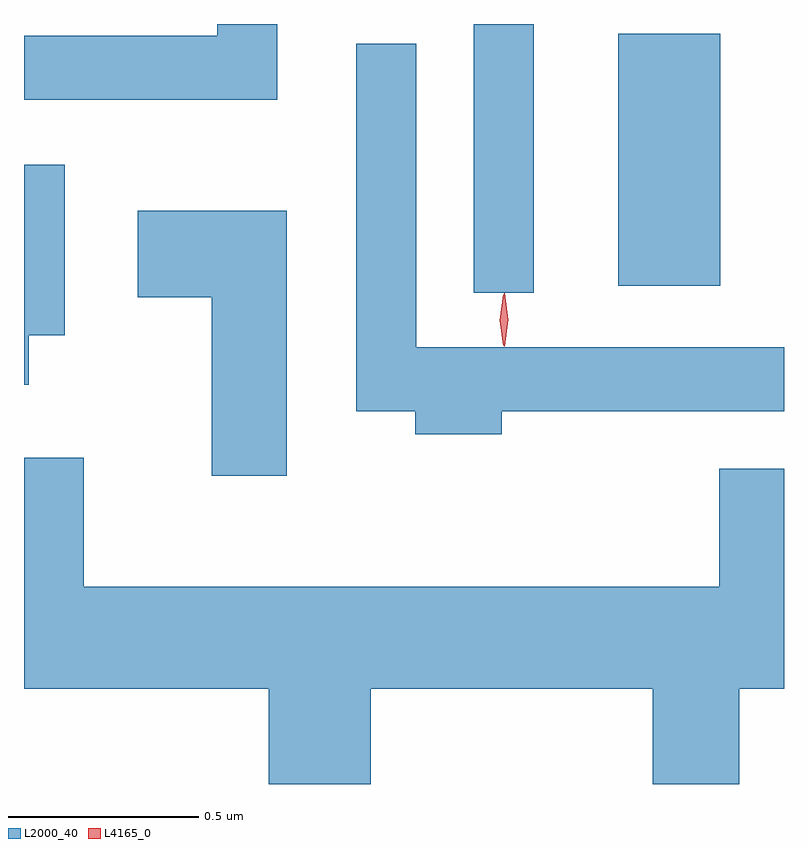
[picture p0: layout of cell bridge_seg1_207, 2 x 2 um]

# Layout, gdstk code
import gdstk
lib = gdstk.Library(unit=1e-6, precision=1e-09)
def R(c, l, rs):  # rectangles x0, y0, x1, y1
    for r in rs: c.add(gdstk.rectangle(r[:2], r[2:], *l))
def P(c, l, *ps):  # polygons
    for p in ps: c.add(gdstk.Polygon(p, *l))
L2000_40 = (2000, 40)
L4165_0 = (4165, 0)

bridge_seg1_207 = lib.new_cell('bridge_seg1_207')
R(bridge_seg1_207, L2000_40, [(795.036,931.698,795.194,932.405), (795.416,931.716,795.684,932.379)])
P(bridge_seg1_207, L2000_40, [(794.519,932.405),(794.361,932.405),(794.361,932.374),(793.852,932.374),(793.852,932.206),(794.519,932.206)],
  [(795.109,931.386),(795.852,931.386),(795.852,931.554),(794.884,931.554),(794.884,932.353),(794.726,932.353),(794.726,931.386),(794.881,931.386),(794.881,931.326),(795.109,931.326)],
  [(793.864,931.586),(793.959,931.586),(793.959,932.034),(793.852,932.034),(793.852,931.456),(793.864,931.456)],
  [(794.544,931.914),(794.151,931.914),(794.151,931.686),(794.346,931.686),(794.346,931.216),(794.544,931.216)],
  [(794.764,930.656),(795.506,930.656),(795.506,930.405),(795.734,930.405),(795.734,930.656),(795.852,930.656),(795.852,931.234),(795.681,931.234),(795.681,930.924),(794.009,930.924),(794.009,931.264),(793.852,931.264),(793.852,930.656),(794.496,930.656),(794.496,930.405),(794.764,930.405)])
P(bridge_seg1_207, L4165_0, [(795.113,931.56),(795.104,931.626),(795.113,931.692),(795.114,931.693),(795.114,931.692),(795.124,931.626),(795.114,931.56),(795.114,931.56)],
  [(795.116,931.557),(795.116,931.557),(795.106,931.627),(795.116,931.696),(795.116,931.696),(795.117,931.696),(795.126,931.627),(795.117,931.557)])

lib.write_gds('bridge_seg1_207.gds')
